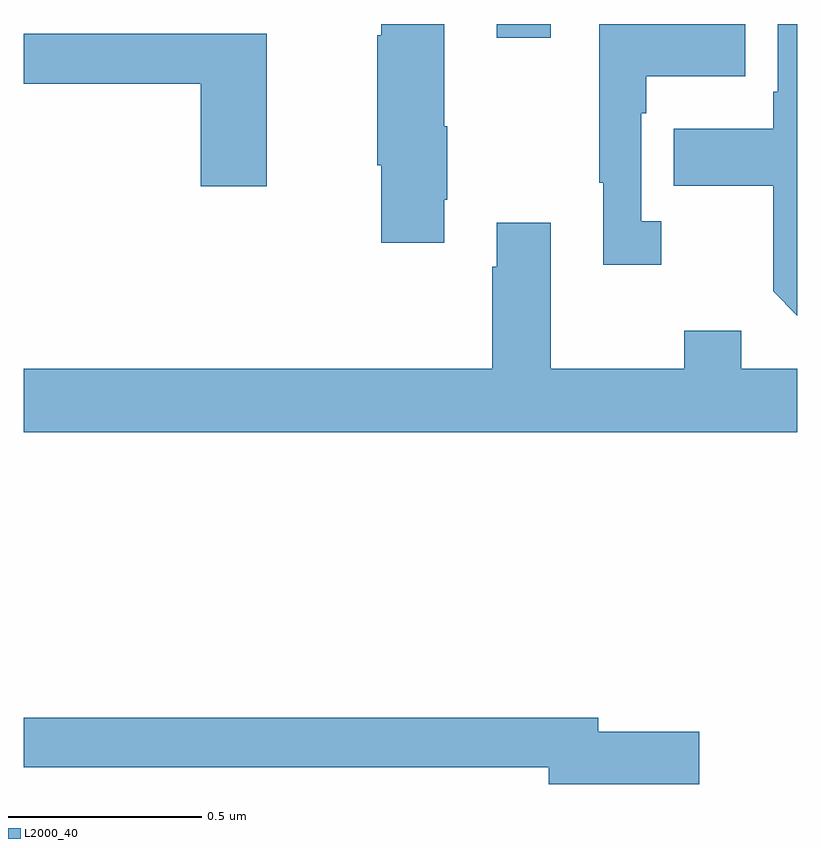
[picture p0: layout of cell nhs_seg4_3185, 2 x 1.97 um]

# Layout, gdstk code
import gdstk
lib = gdstk.Library(unit=1e-6, precision=1e-09)
def R(c, l, rs):  # rectangles x0, y0, x1, y1
    for r in rs: c.add(gdstk.rectangle(r[:2], r[2:], *l))
def P(c, l, *ps):  # polygons
    for p in ps: c.add(gdstk.Polygon(p, *l))
L2000_40 = (2000, 40)

nhs_seg4_3185 = lib.new_cell('nhs_seg4_3185')
R(nhs_seg4_3185, L2000_40, [(151.223,773.865,151.363,773.9)])
P(nhs_seg4_3185, L2000_40, [(152,773.9),(151.95,773.9),(151.95,773.725),(151.938,773.725),(151.938,773.629),(151.681,773.629),(151.681,773.482),(151.938,773.482),(151.938,773.209),(152,773.146)],
  [(151.087,773.446),(151.095,773.446),(151.095,773.635),(151.087,773.635),(151.087,773.9),(150.925,773.9),(150.925,773.871),(150.914,773.871),(150.914,773.535),(150.925,773.535),(150.925,773.334),(151.087,773.334)],
  [(151.648,773.39),(151.596,773.39),(151.596,773.669),(151.609,773.669),(151.609,773.765),(151.865,773.765),(151.865,773.9),(151.488,773.9),(151.488,773.489),(151.499,773.489),(151.499,773.277),(151.648,773.277)],
  [(150.628,773.875),(150,773.875),(150,773.746),(150.458,773.746),(150.458,773.481),(150.628,773.481)],
  [(152,773.008),(151.855,773.008),(151.855,773.107),(151.708,773.107),(151.708,773.008),(151.363,773.008),(151.363,773.386),(151.223,773.386),(151.223,773.273),(151.211,773.273),(151.211,773.008),(150,773.008),(150,772.844),(152,772.844)],
  [(151.747,772.07),(151.486,772.07),(151.486,772.106),(150,772.106),(150,771.978),(151.358,771.978),(151.358,771.935),(151.747,771.935)])

lib.write_gds('nhs_seg4_3185.gds')
